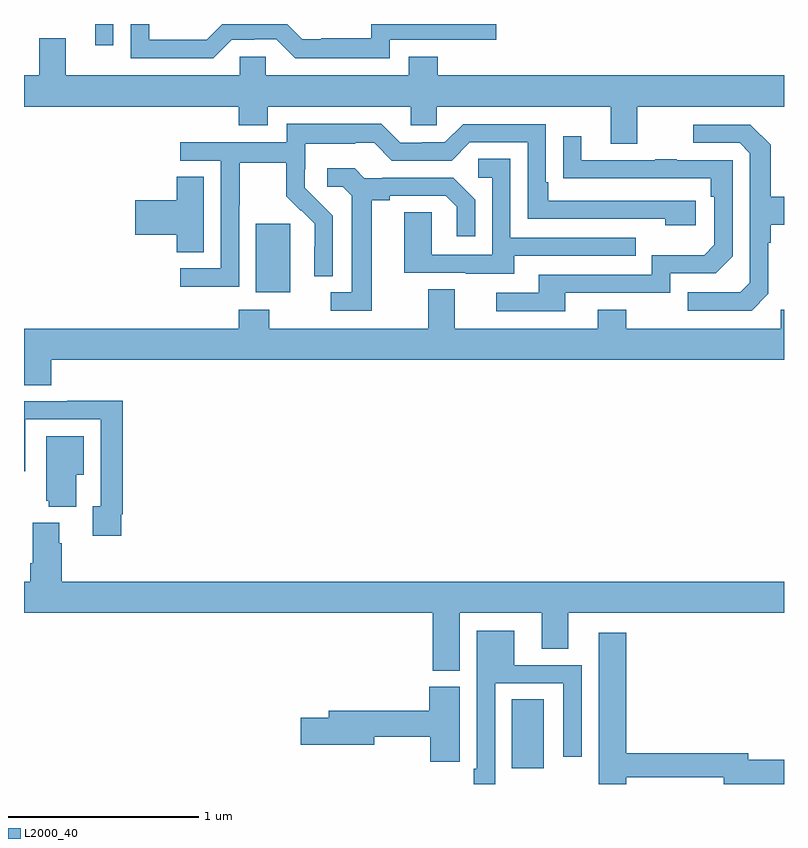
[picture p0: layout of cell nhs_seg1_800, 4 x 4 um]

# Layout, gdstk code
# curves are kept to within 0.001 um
import gdstk
lib = gdstk.Library(unit=1e-6, precision=1e-09)
def R(c, l, rs):  # rectangles x0, y0, x1, y1
    for r in rs: c.add(gdstk.rectangle(r[:2], r[2:], *l))
def P(c, l, *ps):  # polygons
    for p in ps: c.add(gdstk.Polygon(p, *l))
L2000_40 = (2000, 40)

nhs_seg1_800 = lib.new_cell('nhs_seg1_800')
R(nhs_seg1_800, L2000_40, [(157.568,516.282,157.735,516.644), (156.221,518.786,156.4,519.147), (155.375,520.086,155.471,520.199)])
P(nhs_seg1_800, L2000_40, [(156.924,520.116),(157.486,520.116),(157.486,520.199),(156.828,520.199),(156.828,520.123),(156.565,520.123),(156.565,520.119),(156.465,520.119),(156.385,520.199),(156.044,520.199),(155.961,520.116),(155.658,520.116),(155.658,520.199),(155.562,520.199),(155.562,520.02),(155.997,520.02),(156.093,520.116),(156.212,520.116),(156.212,520.119),(156.327,520.119),(156.427,520.019),(156.924,520.019)],
  [(158.227,519.764),(159,519.764),(159,519.928),(157.178,519.928),(157.178,520.027),(157.025,520.027),(157.025,519.928),(156.273,519.928),(156.273,520.026),(156.135,520.026),(156.135,519.928),(155.221,519.928),(155.221,520.123),(155.081,520.123),(155.081,519.928),(155,519.928),(155,519.764),(156.131,519.764),(156.131,519.665),(156.283,519.665),(156.283,519.764),(157.035,519.764),(157.035,519.666),(157.173,519.666),(157.173,519.764),(158.087,519.764),(158.087,519.57),(158.227,519.57)],
  [(156.132,519.244),(156.135,519.244),(156.135,519.468),(156.379,519.468),(156.379,519.293),(156.456,519.216),(156.459,519.219),(156.53,519.149),(156.53,519.026),(156.528,519.026),(156.528,518.872),(156.624,518.872),(156.624,519.19),(156.478,519.338),(156.478,519.435),(156.48,519.435),(156.48,519.569),(156.743,519.569),(156.743,519.573),(156.843,519.573),(156.936,519.48),(157.251,519.48),(157.347,519.576),(157.65,519.576),(157.65,519.174),(158.375,519.174),(158.375,519.14),(158.536,519.14),(158.536,519.27),(157.759,519.27),(157.759,519.367),(157.746,519.367),(157.746,519.672),(157.311,519.672),(157.215,519.576),(157.097,519.576),(157.097,519.573),(156.981,519.573),(156.881,519.673),(156.384,519.673),(156.384,519.576),(155.823,519.576),(155.823,519.48),(156.036,519.48),(156.036,518.913),(155.823,518.913),(155.823,518.815),(156.132,518.815)],
  [(158.916,518.778),(158.916,519.047),(158.929,519.047),(158.929,519.143),(159,519.143),(159,519.291),(158.929,519.291),(158.929,519.563),(158.823,519.669),(158.523,519.669),(158.523,519.573),(158.766,519.573),(158.82,519.519),(158.82,518.838),(158.769,518.787),(158.493,518.787),(158.493,518.691),(158.829,518.691)],
  [(157.849,518.784),(158.4,518.784),(158.4,518.886),(158.64,518.886),(158.73,518.976),(158.73,519.483),(158.435,519.483),(158.435,519.488),(158.323,519.488),(158.323,519.483),(157.933,519.483),(157.933,519.607),(157.837,519.607),(157.837,519.388),(158.614,519.387),(158.614,519.29),(158.634,519.29),(158.634,519.036),(158.581,518.983),(158.304,518.983),(158.304,518.88),(157.709,518.88),(157.709,518.784),(157.485,518.784),(157.485,518.688),(157.849,518.688)],
  [(157.579,518.979),(158.219,518.979),(158.219,519.075),(157.56,519.075),(157.56,519.491),(157.392,519.491),(157.392,519.39),(157.464,519.39),(157.464,518.985),(157.146,518.985),(157.146,519.209),(157.001,519.209),(157.001,518.889),(157.325,518.889),(157.325,518.885),(157.579,518.885)],
  [(156.829,519.272),(156.925,519.272),(156.925,519.294),(157.22,519.294),(157.277,519.237),(157.277,519.081),(157.374,519.081),(157.374,519.274),(157.258,519.39),(156.886,519.39),(156.886,519.387),(156.792,519.387),(156.74,519.439),(156.597,519.439),(156.597,519.342),(156.678,519.342),(156.725,519.295),(156.725,518.787),(156.615,518.787),(156.615,518.691),(156.829,518.691)],
  [(155.947,519.395),(155.804,519.395),(155.804,519.272),(155.586,519.272),(155.586,519.089),(155.804,519.089),(155.804,518.998),(155.947,518.998)],
  [(155.144,518.432),(159,518.432),(159,518.695),(158.982,518.695),(158.982,518.596),(158.169,518.596),(158.169,518.695),(158.021,518.695),(158.021,518.596),(157.267,518.596),(157.267,518.804),(157.127,518.804),(157.127,518.596),(156.291,518.596),(156.291,518.695),(156.131,518.695),(156.131,518.596),(155,518.596),(155,518.299),(155.144,518.299)],
  [(155.512,517.618),(155.519,517.618),(155.519,518.216),(155.227,518.216),(155.227,518.214),(155,518.214),(155,517.845),(155.007,517.845),(155.007,518.118),(155.403,518.118),(155.403,517.662),(155.363,517.662),(155.363,517.506),(155.512,517.506)],
  [(155.275,517.826),(155.314,517.826),(155.314,518.029),(155.117,518.029),(155.117,517.689),(155.129,517.689),(155.129,517.658),(155.275,517.658)],
  [(157.294,517.1),(157.724,517.1),(157.724,516.91),(157.864,516.91),(157.864,517.1),(159,517.1),(159,517.264),(155.198,517.264),(155.198,517.466),(155.185,517.466),(155.185,517.573),(155.045,517.573),(155.045,517.36),(155.033,517.36),(155.033,517.264),(155,517.264),(155,517.1),(157.151,517.1),(157.151,516.796),(157.294,516.796)],
  [(157.479,516.729),(157.839,516.729),(157.839,516.342),(157.935,516.342),(157.935,516.825),(157.579,516.825),(157.579,517.006),(157.383,517.006),(157.383,516.28),(157.367,516.28),(157.367,516.199),(157.479,516.199)],
  [(158.171,516.234),(158.684,516.234),(158.684,516.199),(159,516.199),(159,516.326),(158.812,516.326),(158.812,516.362),(158.171,516.362),(158.171,516.996),(158.024,516.996),(158.024,516.199),(158.171,516.199)],
  [(157.293,516.427),(157.294,516.427),(157.294,516.711),(157.133,516.711),(157.133,516.584),(156.605,516.584),(156.605,516.548),(156.456,516.548),(156.456,516.406),(156.844,516.406),(156.844,516.448),(157.138,516.448),(157.138,516.315),(157.293,516.315)])

lib.write_gds('nhs_seg1_800.gds')
